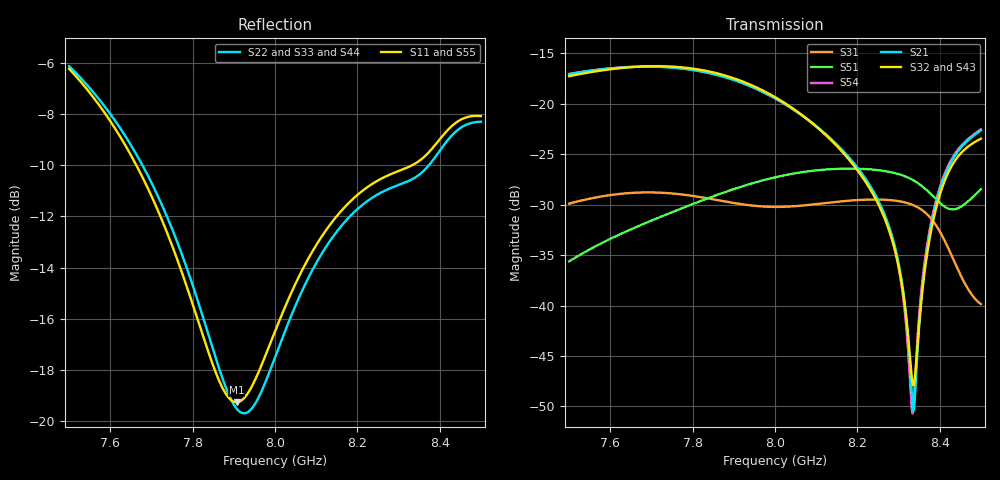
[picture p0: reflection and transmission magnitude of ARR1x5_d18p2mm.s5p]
! Touchstone file exported from HFSS 2025.1.0
!  File:  C:/Users/user/Documents/Ansoft/TFG_UWB-MIMO-Array.aedt
!  Generated:  04:10:11 PM Nov 20, 2026
!  Design:  ARR1x5_US3_PS6_4_dparam
!  Project:  TFG_UWB-MIMO-Array
!  Setup:  Setup_ch9
!  Solution:  Sweep_7p5_8p5
! Variables:
!  arr_d = 18.2mm
!  board_m = 13mm
!  board_x = 98.8mm
!  board_y = 26mm
!  cu_t = 0.035mm
!  line_w = 3.92mm
!  pad_xy = 22mm
!  pad_zn = 25mm
!  pad_zp = 33mm
!  par_L = 7.05mm
!  par_W = 13.58mm
!  par_yc = 0.615mm
!  par_z = 1.035mm
!  patch_L = 6.29mm
!  patch_W = 14mm
!  sub_h = 2.07mm
!  tr_l = 7.25mm
!  tr_w = 1mm
!  u_Lu = 2.65mm
!  u_Wu = 4.4mm
!  u_t = 0.8mm
!  u_y0 = -0.7mm
# GHz S MA R 50.000000
! Terminal data exported
! Port[1] = P1
! Port[2] = P2
! Port[3] = P3
! Port[4] = P4
! Port[5] = P5
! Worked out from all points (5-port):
!   1001 points, 7.5 GHz to 8.5 GHz, reference 50 ohm
!   strongest paths, dB at 7.5 GHz, 7.75 GHz, 8 GHz, 8.25 GHz, 8.5 GHz:
!     S32: -17.3, -16.3, -19.3, -29.9, -23.5
!     S43: -17.3, -16.3, -19.3, -30.0, -23.4
!     S21: -17.0, -16.4, -19.4, -29.5, -22.6
!     S54: -17.0, -16.4, -19.4, -29.7, -22.5
!     S51: -35.6, -30.7, -27.3, -26.6, -28.5
!     S31: -29.9, -28.9, -30.2, -29.5, -39.9
!   lowest |S11| = -19.3 dB at 7.907 GHz (marker M1), VSWR 1.24, Z = 61.4 - j4.2 ohm
!   |S11| at or under -10 dB: 7.663 GHz to 8.334 GHz (670.5 MHz wide, 8.38 % of centre)
